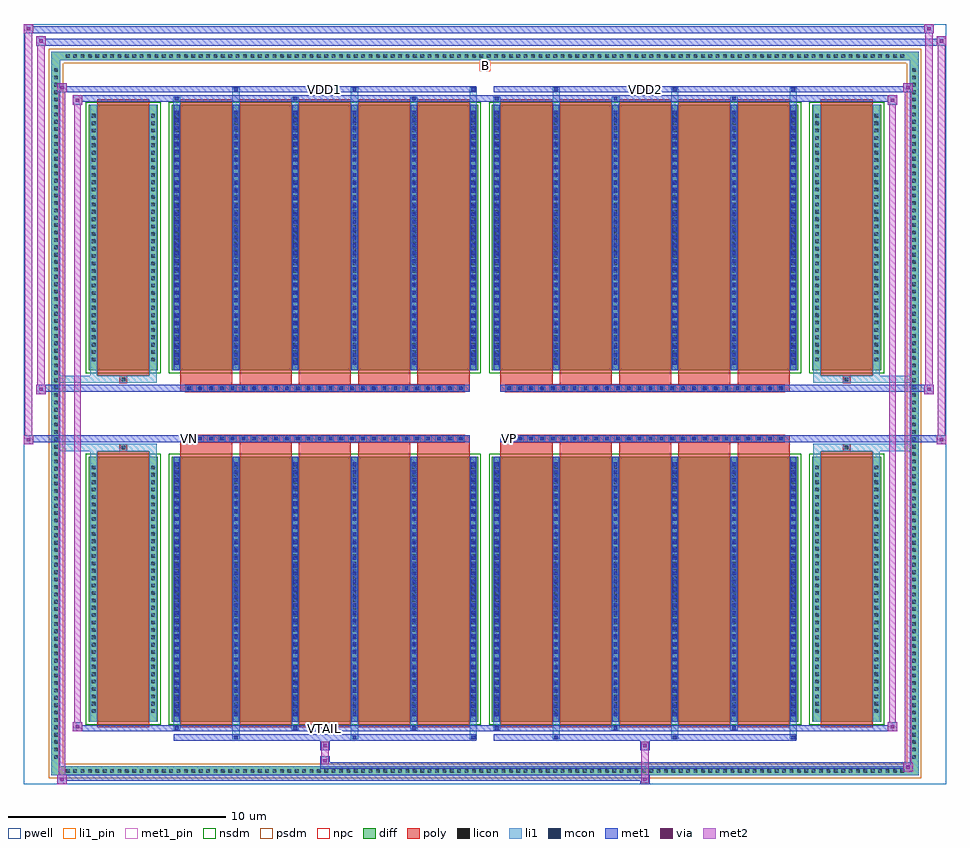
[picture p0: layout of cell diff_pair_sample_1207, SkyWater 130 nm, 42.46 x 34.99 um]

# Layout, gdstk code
import gdstk
lib = gdstk.Library(unit=1e-6, precision=5e-09)
def R(c, l, rs):  # rectangles x0, y0, x1, y1
    for r in rs: c.add(gdstk.rectangle(r[:2], r[2:], *l))
def A(c, l, x, y, w, h, nx, ny, dx, dy):  # array of equal rectangles
    R(c, l, [(x+i*dx, y+j*dy, x+i*dx+w, y+j*dy+h) for i in range(nx) for j in range(ny)])
def P(c, l, *ps):  # polygons
    for p in ps: c.add(gdstk.Polygon(p, *l))
pwell = (64, 44)
diff = (65, 20)
poly = (66, 20)
licon = (66, 44)
li1_pin = (67, 16)
li1 = (67, 20)
mcon = (67, 44)
met1_pin = (68, 16)
met1 = (68, 20)
via = (68, 44)
met2 = (69, 20)
nsdm = (93, 44)
psdm = (94, 20)
npc = (95, 20)

diff_pair_sample_1207 = lib.new_cell('diff_pair_sample_1207')
R(diff_pair_sample_1207, pwell, [(-21.23,-17.06,21.23,17.93), (-18.55,-15.25,-0.01,-0.795), (0.01,-15.25,18.55,-0.795), (-18.55,0.795,-0.01,15.25), (0.01,0.795,18.55,15.25)])
A(diff_pair_sample_1207, diff, -19.415, -16.66, 0.41, 0.41, 114, 2, 0.34, 32.91)
A(diff_pair_sample_1207, diff, -19.96, -16.015, 0.41, 0.41, 1, 94, 0, 0.34)
A(diff_pair_sample_1207, diff, 19.55, -16.015, 0.41, 0.41, 1, 94, 0, 0.34)
R(diff_pair_sample_1207, diff, [(-19.415,-16.66,19.415,-16.25), (-19.96,-16.015,-19.55,16.015), (19.55,-16.015,19.96,16.015), (-18.24,-14.205,-15.06,-1.985), (-14.42,-14.205,-0.32,-1.985), (0.32,-14.205,14.42,-1.985), (15.06,-14.205,18.24,-1.985), (-18.24,1.985,-15.06,14.205), (-14.42,1.985,-0.32,14.205), (0.32,1.985,14.42,14.205), (15.06,1.985,18.24,14.205), (-19.415,16.25,19.415,16.66)])
P(diff_pair_sample_1207, diff, [(19.96,16.66),(-19.96,16.66),(-19.96,-16.25),(-19.55,-16.25),(-19.55,16.25),(19.55,16.25),(19.55,-16.25),(-19.55,-16.25),(-19.96,-16.25),(-19.96,-16.66),(19.96,-16.66)])
A(diff_pair_sample_1207, poly, -14.03, -14.455, 2.4, 12.72, 5, 2, 2.73, 16.19)
A(diff_pair_sample_1207, poly, 0.71, -14.455, 2.4, 12.72, 5, 2, 2.73, 16.19)
A(diff_pair_sample_1207, poly, -14.03, -1.735, 2.4, 0.41, 5, 2, 2.73, 3.06)
A(diff_pair_sample_1207, poly, 0.71, -1.735, 2.4, 0.41, 5, 2, 2.73, 3.06)
A(diff_pair_sample_1207, poly, -13.785, -1.325, 0.33, 0.33, 26, 2, 0.5, 2.32)
A(diff_pair_sample_1207, poly, 0.955, -1.325, 0.33, 0.33, 26, 2, 0.5, 2.32)
R(diff_pair_sample_1207, poly, [(-17.85,-14.455,-15.45,-1.735), (15.45,-14.455,17.85,-1.735), (-16.815,-1.735,-16.485,-1.405), (-16.815,-1.735,-16.485,-1.405), (16.485,-1.735,16.815,-1.405), (16.485,-1.735,16.815,-1.405), (-14.03,-1.325,-0.71,-0.995), (0.71,-1.325,14.03,-0.995), (-14.03,0.995,-0.71,1.325), (0.71,0.995,14.03,1.325), (-16.815,1.405,-16.485,1.735), (-16.815,1.405,-16.485,1.735), (16.485,1.405,16.815,1.735), (16.485,1.405,16.815,1.735), (-17.85,1.735,-15.45,14.455), (15.45,1.735,17.85,14.455)])
A(diff_pair_sample_1207, licon, -19.295, -16.54, 0.17, 0.17, 114, 2, 0.34, 32.91)
A(diff_pair_sample_1207, licon, -19.84, -15.895, 0.17, 0.17, 1, 94, 0, 0.34)
A(diff_pair_sample_1207, licon, 19.67, -15.895, 0.17, 0.17, 1, 94, 0, 0.34)
A(diff_pair_sample_1207, licon, -18.1, -13.79, 0.17, 0.17, 1, 34, 0, 0.34)
A(diff_pair_sample_1207, licon, -15.37, -13.79, 0.17, 0.17, 1, 34, 0, 0.34)
A(diff_pair_sample_1207, licon, -14.28, -13.79, 0.17, 0.17, 6, 34, 2.73, 0.34)
A(diff_pair_sample_1207, licon, 0.46, -13.79, 0.17, 0.17, 6, 34, 2.73, 0.34)
A(diff_pair_sample_1207, licon, 15.2, -13.79, 0.17, 0.17, 1, 34, 0, 0.34)
A(diff_pair_sample_1207, licon, 17.93, -13.79, 0.17, 0.17, 1, 34, 0, 0.34)
A(diff_pair_sample_1207, licon, -13.705, -1.245, 0.17, 0.17, 26, 2, 0.5, 2.32)
A(diff_pair_sample_1207, licon, 1.035, -1.245, 0.17, 0.17, 26, 2, 0.5, 2.32)
A(diff_pair_sample_1207, licon, -18.1, 2.4, 0.17, 0.17, 1, 34, 0, 0.34)
A(diff_pair_sample_1207, licon, -15.37, 2.4, 0.17, 0.17, 1, 34, 0, 0.34)
A(diff_pair_sample_1207, licon, -14.28, 2.4, 0.17, 0.17, 6, 34, 2.73, 0.34)
A(diff_pair_sample_1207, licon, 0.46, 2.4, 0.17, 0.17, 6, 34, 2.73, 0.34)
A(diff_pair_sample_1207, licon, 15.2, 2.4, 0.17, 0.17, 1, 34, 0, 0.34)
A(diff_pair_sample_1207, licon, 17.93, 2.4, 0.17, 0.17, 1, 34, 0, 0.34)
R(diff_pair_sample_1207, licon, [(-16.735,-1.655,-16.565,-1.485), (16.565,-1.655,16.735,-1.485), (-16.735,1.485,-16.565,1.655), (16.565,1.485,16.735,1.655)])
R(diff_pair_sample_1207, li1_pin, [(-0.25,15.75,0.25,16.25)])
A(diff_pair_sample_1207, li1, -19.375, -16.62, 0.33, 0.33, 114, 2, 0.34, 32.91)
A(diff_pair_sample_1207, li1, -19.92, -15.975, 0.33, 0.33, 1, 94, 0, 0.34)
A(diff_pair_sample_1207, li1, 19.59, -15.975, 0.33, 0.33, 1, 94, 0, 0.34)
A(diff_pair_sample_1207, li1, -11.63, -15.01, 0.33, 0.805, 3, 2, 5.46, 29.215)
A(diff_pair_sample_1207, li1, -11.55, -15.01, 0.17, 0.17, 3, 2, 5.46, 29.85)
A(diff_pair_sample_1207, li1, 3.11, -15.01, 0.33, 0.805, 3, 2, 5.46, 29.215)
A(diff_pair_sample_1207, li1, 3.19, -15.01, 0.17, 0.17, 3, 2, 5.46, 29.85)
A(diff_pair_sample_1207, li1, -14.36, -14.58, 0.33, 0.375, 3, 2, 5.46, 28.785)
A(diff_pair_sample_1207, li1, -14.28, -14.58, 0.17, 0.17, 3, 2, 5.46, 28.99)
A(diff_pair_sample_1207, li1, 0.38, -14.58, 0.33, 0.375, 3, 2, 5.46, 28.785)
A(diff_pair_sample_1207, li1, 0.46, -14.58, 0.17, 0.17, 3, 2, 5.46, 28.99)
A(diff_pair_sample_1207, li1, -14.36, -14.205, 0.33, 12.22, 6, 2, 2.73, 16.19)
A(diff_pair_sample_1207, li1, 0.38, -14.205, 0.33, 12.22, 6, 2, 2.73, 16.19)
A(diff_pair_sample_1207, li1, -14.28, -13.94, 0.17, 0.17, 6, 33, 2.73, 0.36)
A(diff_pair_sample_1207, li1, -14.28, -13.94, 0.17, 11.69, 6, 2, 2.73, 16.19)
A(diff_pair_sample_1207, li1, 0.46, -13.94, 0.17, 0.17, 6, 33, 2.73, 0.36)
A(diff_pair_sample_1207, li1, 0.46, -13.94, 0.17, 11.69, 6, 2, 2.73, 16.19)
A(diff_pair_sample_1207, li1, -18.18, -13.87, 0.33, 0.33, 1, 34, 0, 0.34)
A(diff_pair_sample_1207, li1, -15.45, -13.87, 0.33, 0.33, 1, 34, 0, 0.34)
A(diff_pair_sample_1207, li1, -14.36, -13.87, 0.33, 0.33, 6, 34, 2.73, 0.34)
A(diff_pair_sample_1207, li1, 0.38, -13.87, 0.33, 0.33, 6, 34, 2.73, 0.34)
A(diff_pair_sample_1207, li1, 15.12, -13.87, 0.33, 0.33, 1, 34, 0, 0.34)
A(diff_pair_sample_1207, li1, 17.85, -13.87, 0.33, 0.33, 1, 34, 0, 0.34)
A(diff_pair_sample_1207, li1, -13.785, -1.325, 0.33, 0.33, 26, 2, 0.5, 2.32)
A(diff_pair_sample_1207, li1, 0.955, -1.325, 0.33, 0.33, 26, 2, 0.5, 2.32)
A(diff_pair_sample_1207, li1, -14.28, 2.25, 0.17, 0.17, 6, 33, 2.73, 0.36)
A(diff_pair_sample_1207, li1, 0.46, 2.25, 0.17, 0.17, 6, 33, 2.73, 0.36)
A(diff_pair_sample_1207, li1, -18.18, 2.32, 0.33, 0.33, 1, 34, 0, 0.34)
A(diff_pair_sample_1207, li1, -15.45, 2.32, 0.33, 0.33, 1, 34, 0, 0.34)
A(diff_pair_sample_1207, li1, -14.36, 2.32, 0.33, 0.33, 6, 34, 2.73, 0.34)
A(diff_pair_sample_1207, li1, 0.38, 2.32, 0.33, 0.33, 6, 34, 2.73, 0.34)
A(diff_pair_sample_1207, li1, 15.12, 2.32, 0.33, 0.33, 1, 34, 0, 0.34)
A(diff_pair_sample_1207, li1, 17.85, 2.32, 0.33, 0.33, 1, 34, 0, 0.34)
R(diff_pair_sample_1207, li1, [(-19.96,-16.66,-19.55,-16.25), (-19.96,-16.66,-19.55,-16.25), (-19.55,-16.66,19.55,-16.25), (19.55,-16.66,19.96,-16.25), (19.55,-16.66,19.96,-16.25), (-19.96,-16.25,-19.55,16.25), (19.55,-16.25,19.96,16.25), (-18.18,-14.205,-17.85,-1.985), (-15.45,-14.205,-15.12,-1.985), (15.12,-14.205,15.45,-1.985), (17.85,-14.205,18.18,-1.985), (-18.18,-1.985,-17.85,-1.405), (-15.45,-1.985,-15.12,-1.405), (15.12,-1.985,15.45,-1.405), (17.85,-1.985,18.18,-1.405), (-19.96,-1.735,-16.815,-1.405), (-18.18,-1.735,-16.815,-1.405), (-16.815,-1.735,-16.485,-1.405), (-16.485,-1.735,-15.12,-1.405), (15.12,-1.735,16.485,-1.405), (16.485,-1.735,16.815,-1.405), (16.485,-1.735,19.96,-1.405), (16.815,-1.735,18.18,-1.405), (-19.96,1.405,-16.815,1.735), (-18.18,1.405,-16.815,1.735), (-18.18,1.405,-17.85,1.985), (-16.815,1.405,-16.485,1.735), (-16.485,1.405,-15.12,1.735), (-15.45,1.405,-15.12,1.985), (15.12,1.405,16.485,1.735), (15.12,1.405,15.45,1.985), (16.485,1.405,16.815,1.735), (16.485,1.405,19.96,1.735), (16.815,1.405,18.18,1.735), (17.85,1.405,18.18,1.985), (-18.18,1.985,-17.85,14.205), (-15.45,1.985,-15.12,14.205), (15.12,1.985,15.45,14.205), (17.85,1.985,18.18,14.205), (-19.96,16.25,-19.55,16.66), (-19.96,16.25,-19.55,16.66), (-19.55,16.25,19.55,16.66), (19.55,16.25,19.96,16.66), (19.55,16.25,19.96,16.66)])
A(diff_pair_sample_1207, mcon, -11.55, -15.01, 0.17, 0.17, 3, 2, 5.46, 29.85)
A(diff_pair_sample_1207, mcon, 3.19, -15.01, 0.17, 0.17, 3, 2, 5.46, 29.85)
A(diff_pair_sample_1207, mcon, -14.28, -14.58, 0.17, 0.17, 3, 2, 5.46, 28.99)
A(diff_pair_sample_1207, mcon, 0.46, -14.58, 0.17, 0.17, 3, 2, 5.46, 28.99)
A(diff_pair_sample_1207, mcon, -14.28, -13.94, 0.17, 0.17, 6, 33, 2.73, 0.36)
A(diff_pair_sample_1207, mcon, 0.46, -13.94, 0.17, 0.17, 6, 33, 2.73, 0.36)
A(diff_pair_sample_1207, mcon, -13.705, -1.245, 0.17, 0.17, 26, 2, 0.5, 2.32)
A(diff_pair_sample_1207, mcon, 1.035, -1.245, 0.17, 0.17, 26, 2, 0.5, 2.32)
A(diff_pair_sample_1207, mcon, -14.28, 2.25, 0.17, 0.17, 6, 33, 2.73, 0.36)
A(diff_pair_sample_1207, mcon, 0.46, 2.25, 0.17, 0.17, 6, 33, 2.73, 0.36)
R(diff_pair_sample_1207, met1_pin, [(-7.505,-14.62,-7.235,-14.35), (-13.755,-1.285,-13.485,-1.015), (0.985,-1.285,1.255,-1.015), (-7.505,14.8,-7.235,15.07), (7.235,14.8,7.505,15.07)])
A(diff_pair_sample_1207, met1, -11.61, -15.07, 0.29, 0.29, 3, 2, 5.46, 29.85)
A(diff_pair_sample_1207, met1, 3.13, -15.07, 0.29, 0.29, 3, 2, 5.46, 29.85)
A(diff_pair_sample_1207, met1, -14.34, -14.64, 0.29, 0.29, 3, 2, 5.46, 28.99)
A(diff_pair_sample_1207, met1, 0.4, -14.64, 0.29, 0.29, 3, 2, 5.46, 28.99)
A(diff_pair_sample_1207, met1, -14.34, -14.205, 0.29, 12.22, 6, 2, 2.73, 16.19)
A(diff_pair_sample_1207, met1, 0.4, -14.205, 0.29, 12.22, 6, 2, 2.73, 16.19)
A(diff_pair_sample_1207, met1, -14.34, -14, 0.29, 0.29, 6, 33, 2.73, 0.36)
A(diff_pair_sample_1207, met1, 0.4, -14, 0.29, 0.29, 6, 33, 2.73, 0.36)
A(diff_pair_sample_1207, met1, -13.765, -1.305, 0.29, 0.29, 26, 2, 0.5, 2.32)
A(diff_pair_sample_1207, met1, 0.975, -1.305, 0.29, 0.29, 26, 2, 0.5, 2.32)
A(diff_pair_sample_1207, met1, -14.34, 2.19, 0.29, 0.29, 6, 33, 2.73, 0.36)
A(diff_pair_sample_1207, met1, 0.4, 2.19, 0.29, 0.29, 6, 33, 2.73, 0.36)
R(diff_pair_sample_1207, met1, [(-19.69,-17.06,-19.26,-16.63), (7.155,-17.06,7.585,-16.63), (-19.69,-16.92,7.585,-16.63), (19.26,-16.49,19.69,-16.06), (-7.585,-16.35,19.69,-16.06), (-7.585,-16.21,-7.155,-15.78), (-7.585,-15.5,-7.155,-15.07), (7.155,-15.5,7.585,-15.07), (-14.34,-15.07,-0.4,-14.78), (0.4,-15.07,14.34,-14.78), (-18.98,-14.64,-18.55,-14.21), (-18.98,-14.64,-14.34,-14.35), (-14.34,-14.64,-0.4,-14.35), (-0.4,-14.64,0.4,-14.35), (0.4,-14.64,14.34,-14.35), (14.34,-14.64,18.98,-14.35), (18.55,-14.64,18.98,-14.21), (-21.23,-1.425,-20.8,-0.995), (20.8,-1.425,21.23,-0.995), (-21.23,-1.325,-0.71,-0.995), (-14.03,-1.325,-0.71,-0.995), (0.71,-1.325,14.03,-0.995), (0.71,-1.325,21.23,-0.995), (-20.66,0.895,-20.23,1.325), (20.23,0.895,20.66,1.325), (-20.66,0.995,-14.03,1.325), (-14.03,0.995,-0.71,1.325), (0.71,0.995,14.03,1.325), (14.03,0.995,20.66,1.325), (-18.98,14.21,-18.55,14.64), (18.55,14.21,18.98,14.64), (-18.98,14.35,-14.34,14.64), (-14.34,14.35,-0.4,14.64), (-0.4,14.35,0.4,14.64), (0.4,14.35,14.34,14.64), (14.34,14.35,18.98,14.64), (-19.69,14.78,-19.26,15.21), (-19.69,14.78,-14.34,15.07), (-14.34,14.78,-0.4,15.07), (0.4,14.78,14.34,15.07), (14.34,14.78,19.69,15.07), (19.26,14.78,19.69,15.21), (-20.66,16.93,-20.23,17.36), (-20.66,16.93,-18.55,17.26), (-18.55,16.93,18.55,17.26), (18.55,16.93,21.23,17.26), (20.8,16.93,21.23,17.36), (-21.23,17.5,-20.8,17.93), (-21.23,17.5,-18.55,17.83), (-18.55,17.5,18.55,17.83), (18.55,17.5,20.66,17.83), (20.23,17.5,20.66,17.93)])
R(diff_pair_sample_1207, via, [(-19.55,-16.92,-19.4,-16.77), (7.295,-16.92,7.445,-16.77), (19.4,-16.35,19.55,-16.2), (-7.445,-16.07,-7.295,-15.92), (-7.445,-15.36,-7.295,-15.21), (7.295,-15.36,7.445,-15.21), (-18.84,-14.5,-18.69,-14.35), (18.69,-14.5,18.84,-14.35), (-21.09,-1.285,-20.94,-1.135), (20.94,-1.285,21.09,-1.135), (-20.52,1.035,-20.37,1.185), (20.37,1.035,20.52,1.185), (-18.84,14.35,-18.69,14.5), (18.69,14.35,18.84,14.5), (-19.55,14.92,-19.4,15.07), (19.4,14.92,19.55,15.07), (-20.52,17.07,-20.37,17.22), (20.94,17.07,21.09,17.22), (-21.09,17.64,-20.94,17.79), (20.37,17.64,20.52,17.79)])
R(diff_pair_sample_1207, met2, [(-19.69,-17.06,-19.26,-16.63), (-19.62,-17.06,-19.33,15.21), (-19.33,-17.06,-19.26,-16.63), (-19.64,-17.01,-19.31,-16.68), (7.205,-17.01,7.535,-16.68), (7.205,-16.68,7.535,-15.45), (19.26,-16.49,19.69,-16.06), (19.33,-16.49,19.62,15.21), (19.62,-16.49,19.69,-16.06), (19.31,-16.44,19.64,-16.11), (-7.535,-16.16,-7.205,-15.83), (-7.535,-15.83,-7.205,-15.45), (-7.535,-15.45,-7.205,-15.12), (7.205,-15.45,7.535,-15.12), (-18.98,-14.64,-18.55,-14.21), (-18.91,-14.64,-18.62,14.64), (-18.62,-14.64,-18.55,-14.21), (18.55,-14.64,18.98,-14.21), (18.62,-14.64,18.91,14.64), (18.91,-14.64,18.98,-14.21), (-18.93,-14.59,-18.6,-14.26), (18.6,-14.59,18.93,-14.26), (-21.23,-1.425,-20.8,-0.995), (-21.18,-1.425,-20.85,17.93), (-20.85,-1.425,-20.8,-0.995), (20.8,-1.425,21.23,-0.995), (20.85,-1.425,21.18,17.36), (21.18,-1.425,21.23,-0.995), (-21.18,-1.375,-20.85,-1.045), (20.85,-1.375,21.18,-1.045), (-20.66,0.895,-20.23,1.325), (-20.61,0.895,-20.28,17.36), (-20.28,0.895,-20.23,1.325), (20.23,0.895,20.66,1.325), (20.28,0.895,20.61,17.93), (20.61,0.895,20.66,1.325), (-20.61,0.945,-20.28,1.275), (20.28,0.945,20.61,1.275), (-18.98,14.21,-18.55,14.64), (-18.62,14.21,-18.55,14.64), (18.55,14.21,18.98,14.64), (18.91,14.21,18.98,14.64), (-18.93,14.26,-18.6,14.59), (18.6,14.26,18.93,14.59), (-19.69,14.78,-19.26,15.21), (-19.33,14.78,-19.26,15.21), (19.26,14.78,19.69,15.21), (19.62,14.78,19.69,15.21), (-19.64,14.83,-19.31,15.16), (19.31,14.83,19.64,15.16), (-20.66,16.93,-20.23,17.36), (-20.28,16.93,-20.23,17.36), (20.8,16.93,21.23,17.36), (21.18,16.93,21.23,17.36), (-20.61,16.98,-20.28,17.31), (20.85,16.98,21.18,17.31), (-21.23,17.5,-20.8,17.93), (-20.85,17.5,-20.8,17.93), (20.23,17.5,20.66,17.93), (20.61,17.5,20.66,17.93), (-21.18,17.55,-20.85,17.88), (20.28,17.55,20.61,17.88)])
R(diff_pair_sample_1207, nsdm, [(-18.37,-14.335,-14.93,-1.855), (-14.55,-14.335,-0.19,-1.855), (0.19,-14.335,14.55,-1.855), (14.93,-14.335,18.37,-1.855), (-18.37,1.855,-14.93,14.335), (-14.55,1.855,-0.19,14.335), (0.19,1.855,14.55,14.335), (14.93,1.855,18.37,14.335)])
P(diff_pair_sample_1207, psdm, [(20.09,16.79),(-20.09,16.79),(-20.09,-16.12),(-19.42,-16.12),(-19.42,16.12),(19.42,16.12),(19.42,-16.12),(-19.42,-16.12),(-20.09,-16.12),(-20.09,-16.79),(20.09,-16.79)])
A(diff_pair_sample_1207, npc, -13.805, -1.345, 0.37, 0.37, 26, 2, 0.5, 2.32)
A(diff_pair_sample_1207, npc, 0.935, -1.345, 0.37, 0.37, 26, 2, 0.5, 2.32)
R(diff_pair_sample_1207, npc, [(-16.835,-1.755,-16.465,-1.385), (16.465,-1.755,16.835,-1.385), (-13.805,-1.345,-12.935,-0.975), (-13.805,-1.345,-12.935,-0.975), (-13.305,-1.345,-12.435,-0.975), (-13.305,-1.345,-12.435,-0.975), (-12.805,-1.345,-11.935,-0.975), (-12.805,-1.345,-11.935,-0.975), (-12.305,-1.345,-11.435,-0.975), (-12.305,-1.345,-11.435,-0.975), (-11.805,-1.345,-10.935,-0.975), (-11.805,-1.345,-10.935,-0.975), (-11.305,-1.345,-10.435,-0.975), (-11.305,-1.345,-10.435,-0.975), (-10.805,-1.345,-9.935,-0.975), (-10.805,-1.345,-9.935,-0.975), (-10.305,-1.345,-9.435,-0.975), (-10.305,-1.345,-9.435,-0.975), (-9.805,-1.345,-8.935,-0.975), (-9.805,-1.345,-8.935,-0.975), (-9.305,-1.345,-8.435,-0.975), (-9.305,-1.345,-8.435,-0.975), (-8.805,-1.345,-7.935,-0.975), (-8.805,-1.345,-7.935,-0.975), (-8.305,-1.345,-7.435,-0.975), (-8.305,-1.345,-7.435,-0.975), (-7.805,-1.345,-6.935,-0.975), (-7.805,-1.345,-6.935,-0.975), (-7.305,-1.345,-6.435,-0.975), (-7.305,-1.345,-6.435,-0.975), (-6.805,-1.345,-5.935,-0.975), (-6.805,-1.345,-5.935,-0.975), (-6.305,-1.345,-5.435,-0.975), (-6.305,-1.345,-5.435,-0.975), (-5.805,-1.345,-4.935,-0.975), (-5.805,-1.345,-4.935,-0.975), (-5.305,-1.345,-4.435,-0.975), (-5.305,-1.345,-4.435,-0.975), (-4.805,-1.345,-3.935,-0.975), (-4.805,-1.345,-3.935,-0.975), (-4.305,-1.345,-3.435,-0.975), (-4.305,-1.345,-3.435,-0.975), (-3.805,-1.345,-2.935,-0.975), (-3.805,-1.345,-2.935,-0.975), (-3.305,-1.345,-2.435,-0.975), (-3.305,-1.345,-2.435,-0.975), (-2.805,-1.345,-1.935,-0.975), (-2.805,-1.345,-1.935,-0.975), (-2.305,-1.345,-1.435,-0.975), (-2.305,-1.345,-1.435,-0.975), (-1.805,-1.345,-0.935,-0.975), (-1.805,-1.345,-0.935,-0.975), (0.935,-1.345,1.805,-0.975), (0.935,-1.345,1.805,-0.975), (1.435,-1.345,2.305,-0.975), (1.435,-1.345,2.305,-0.975), (1.935,-1.345,2.805,-0.975), (1.935,-1.345,2.805,-0.975), (2.435,-1.345,3.305,-0.975), (2.435,-1.345,3.305,-0.975), (2.935,-1.345,3.805,-0.975), (2.935,-1.345,3.805,-0.975), (3.435,-1.345,4.305,-0.975), (3.435,-1.345,4.305,-0.975), (3.935,-1.345,4.805,-0.975), (3.935,-1.345,4.805,-0.975), (4.435,-1.345,5.305,-0.975), (4.435,-1.345,5.305,-0.975), (4.935,-1.345,5.805,-0.975), (4.935,-1.345,5.805,-0.975), (5.435,-1.345,6.305,-0.975), (5.435,-1.345,6.305,-0.975), (5.935,-1.345,6.805,-0.975), (5.935,-1.345,6.805,-0.975), (6.435,-1.345,7.305,-0.975), (6.435,-1.345,7.305,-0.975), (6.935,-1.345,7.805,-0.975), (6.935,-1.345,7.805,-0.975), (7.435,-1.345,8.305,-0.975), (7.435,-1.345,8.305,-0.975), (7.935,-1.345,8.805,-0.975), (7.935,-1.345,8.805,-0.975), (8.435,-1.345,9.305,-0.975), (8.435,-1.345,9.305,-0.975), (8.935,-1.345,9.805,-0.975), (8.935,-1.345,9.805,-0.975), (9.435,-1.345,10.305,-0.975), (9.435,-1.345,10.305,-0.975), (9.935,-1.345,10.805,-0.975), (9.935,-1.345,10.805,-0.975), (10.435,-1.345,11.305,-0.975), (10.435,-1.345,11.305,-0.975), (10.935,-1.345,11.805,-0.975), (10.935,-1.345,11.805,-0.975), (11.435,-1.345,12.305,-0.975), (11.435,-1.345,12.305,-0.975), (11.935,-1.345,12.805,-0.975), (11.935,-1.345,12.805,-0.975), (12.435,-1.345,13.305,-0.975), (12.435,-1.345,13.305,-0.975), (12.935,-1.345,13.805,-0.975), (12.935,-1.345,13.805,-0.975), (-13.805,0.975,-12.935,1.345), (-13.805,0.975,-12.935,1.345), (-13.305,0.975,-12.435,1.345), (-13.305,0.975,-12.435,1.345), (-12.805,0.975,-11.935,1.345), (-12.805,0.975,-11.935,1.345), (-12.305,0.975,-11.435,1.345), (-12.305,0.975,-11.435,1.345), (-11.805,0.975,-10.935,1.345), (-11.805,0.975,-10.935,1.345), (-11.305,0.975,-10.435,1.345), (-11.305,0.975,-10.435,1.345), (-10.805,0.975,-9.935,1.345), (-10.805,0.975,-9.935,1.345), (-10.305,0.975,-9.435,1.345), (-10.305,0.975,-9.435,1.345), (-9.805,0.975,-8.935,1.345), (-9.805,0.975,-8.935,1.345), (-9.305,0.975,-8.435,1.345), (-9.305,0.975,-8.435,1.345), (-8.805,0.975,-7.935,1.345), (-8.805,0.975,-7.935,1.345), (-8.305,0.975,-7.435,1.345), (-8.305,0.975,-7.435,1.345), (-7.805,0.975,-6.935,1.345), (-7.805,0.975,-6.935,1.345), (-7.305,0.975,-6.435,1.345), (-7.305,0.975,-6.435,1.345), (-6.805,0.975,-5.935,1.345), (-6.805,0.975,-5.935,1.345), (-6.305,0.975,-5.435,1.345), (-6.305,0.975,-5.435,1.345), (-5.805,0.975,-4.935,1.345), (-5.805,0.975,-4.935,1.345), (-5.305,0.975,-4.435,1.345), (-5.305,0.975,-4.435,1.345), (-4.805,0.975,-3.935,1.345), (-4.805,0.975,-3.935,1.345), (-4.305,0.975,-3.435,1.345), (-4.305,0.975,-3.435,1.345), (-3.805,0.975,-2.935,1.345), (-3.805,0.975,-2.935,1.345), (-3.305,0.975,-2.435,1.345), (-3.305,0.975,-2.435,1.345), (-2.805,0.975,-1.935,1.345), (-2.805,0.975,-1.935,1.345), (-2.305,0.975,-1.435,1.345), (-2.305,0.975,-1.435,1.345), (-1.805,0.975,-0.935,1.345), (-1.805,0.975,-0.935,1.345), (0.935,0.975,1.805,1.345), (0.935,0.975,1.805,1.345), (1.435,0.975,2.305,1.345), (1.435,0.975,2.305,1.345), (1.935,0.975,2.805,1.345), (1.935,0.975,2.805,1.345), (2.435,0.975,3.305,1.345), (2.435,0.975,3.305,1.345), (2.935,0.975,3.805,1.345), (2.935,0.975,3.805,1.345), (3.435,0.975,4.305,1.345), (3.435,0.975,4.305,1.345), (3.935,0.975,4.805,1.345), (3.935,0.975,4.805,1.345), (4.435,0.975,5.305,1.345), (4.435,0.975,5.305,1.345), (4.935,0.975,5.805,1.345), (4.935,0.975,5.805,1.345), (5.435,0.975,6.305,1.345), (5.435,0.975,6.305,1.345), (5.935,0.975,6.805,1.345), (5.935,0.975,6.805,1.345), (6.435,0.975,7.305,1.345), (6.435,0.975,7.305,1.345), (6.935,0.975,7.805,1.345), (6.935,0.975,7.805,1.345), (7.435,0.975,8.305,1.345), (7.435,0.975,8.305,1.345), (7.935,0.975,8.805,1.345), (7.935,0.975,8.805,1.345), (8.435,0.975,9.305,1.345), (8.435,0.975,9.305,1.345), (8.935,0.975,9.805,1.345), (8.935,0.975,9.805,1.345), (9.435,0.975,10.305,1.345), (9.435,0.975,10.305,1.345), (9.935,0.975,10.805,1.345), (9.935,0.975,10.805,1.345), (10.435,0.975,11.305,1.345), (10.435,0.975,11.305,1.345), (10.935,0.975,11.805,1.345), (10.935,0.975,11.805,1.345), (11.435,0.975,12.305,1.345), (11.435,0.975,12.305,1.345), (11.935,0.975,12.805,1.345), (11.935,0.975,12.805,1.345), (12.435,0.975,13.305,1.345), (12.435,0.975,13.305,1.345), (12.935,0.975,13.805,1.345), (12.935,0.975,13.805,1.345), (-16.835,1.385,-16.465,1.755), (16.465,1.385,16.835,1.755)])
diff_pair_sample_1207.add(gdstk.Label('VTAIL', (-7.37,-14.485), layer=68, texttype=5))
diff_pair_sample_1207.add(gdstk.Label('VN', (-13.62,-1.15), layer=68, texttype=5))
diff_pair_sample_1207.add(gdstk.Label('VP', (1.12,-1.15), layer=68, texttype=5))
diff_pair_sample_1207.add(gdstk.Label('B', (0,16), layer=67, texttype=5))
diff_pair_sample_1207.add(gdstk.Label('VDD2', (7.37,14.935), layer=68, texttype=5))
diff_pair_sample_1207.add(gdstk.Label('VDD1', (-7.37,14.935), layer=68, texttype=5))

lib.write_gds('diff_pair_sample_1207.gds')
